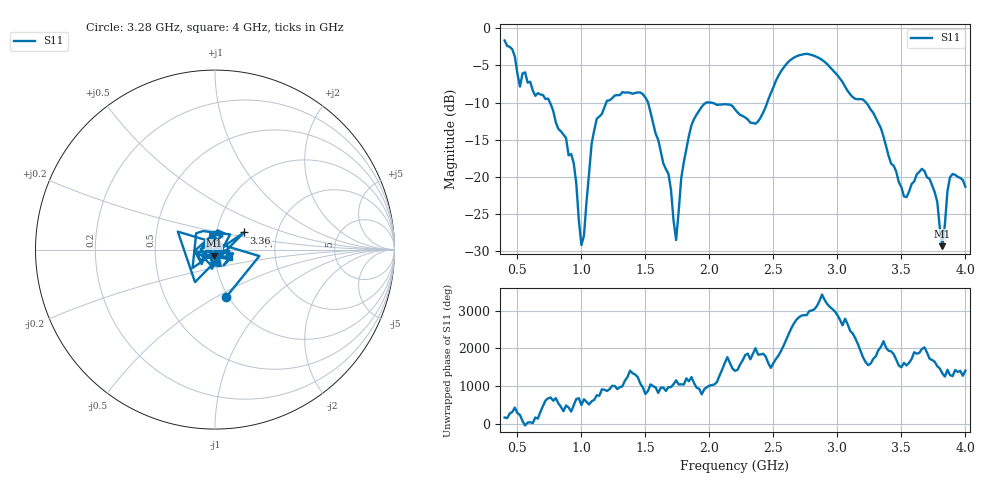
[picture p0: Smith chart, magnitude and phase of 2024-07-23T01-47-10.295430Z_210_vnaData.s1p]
!Created with skrf (http://scikit-rf.org).
# Hz S RI R 50.0
!freq ReS11 ImS11
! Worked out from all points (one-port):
!   181 points, 400 MHz to 4 GHz, reference 50 ohm
!   lowest |S11| = -29.3 dB at 3.82 GHz (marker M1), VSWR 1.07, Z = 49.3 - j3.33 ohm
!   |S11| at or under -10 dB: 754.7 MHz to 1.194 GHz (439.1 MHz wide, 45.1 % of centre); 1.521 GHz to 1.976 GHz (454.5 MHz wide, 26 % of centre); 3.224 GHz to end of sweep (the widest 3 of 4)
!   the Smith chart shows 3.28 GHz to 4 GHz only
!   S11 on the Smith chart (normalised r, x): 3.28 GHz: 0.98, -0.56; 3.36 GHz: 1.35, +0.27; 4 GHz: 1.16, -0.09
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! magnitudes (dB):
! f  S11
! 400 MHz  -1.6
! 520 MHz  -7.8
! 560 MHz  -5.9
! 860 MHz  -14.3
! 940 MHz  -18.1
! 1 GHz  -29.1
! 1.08 GHz  -15.5
! 1.12 GHz  -12.2
! 1.3 GHz  -9.0
! 1.52 GHz  -9.9
! 1.68 GHz  -19.6
! 1.74 GHz  -28.5
! 1.76 GHz  -24.6
! 1.8 GHz  -18.0
! 1.88 GHz  -12.2
! 2.2 GHz  -10.9
! 2.38 GHz  -12.5
! 2.66 GHz  -3.9
! 2.88 GHz  -4.2
! 3.1 GHz  -8.9
! 3.28 GHz  -11.4
! 3.36 GHz  -14.6
! 3.56 GHz  -22.0
! 3.72 GHz  -20.2
! 3.78 GHz  -23.3
! 3.82 GHz  -29.3
! 3.88 GHz  -20.0
! 4 GHz  -21.3
